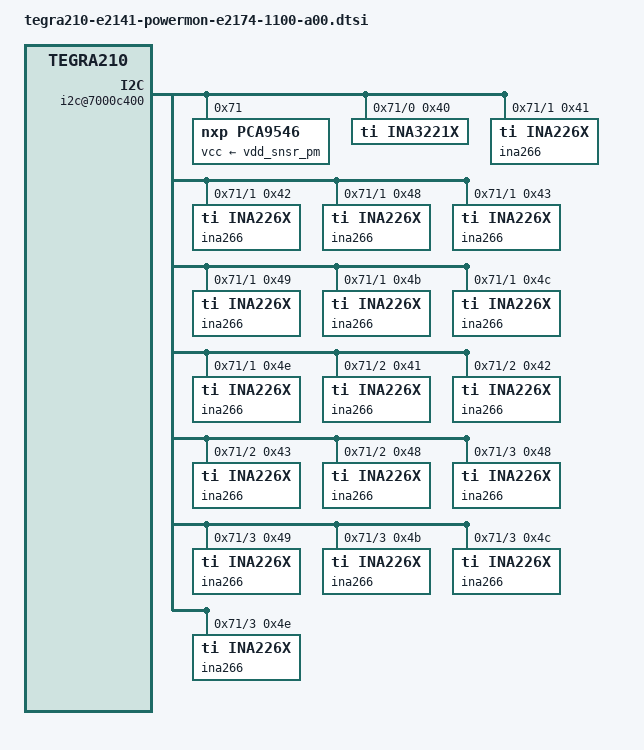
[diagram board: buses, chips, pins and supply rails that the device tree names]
/*
 * Copyright (c) 2014, NVIDIA CORPORATION.  All rights reserved.
 *
 * This program is free software; you can redistribute it and/or modify
 * it under the terms of the GNU General Public License as published by
 * the Free Software Foundation; either version 2 of the License, or
 * (at your option) any later version.
 *
 * This program is distributed in the hope that it will be useful, but WITHOUT
 * ANY WARRANTY; without even the implied warranty of MERCHANTABILITY or
 * FITNESS FOR A PARTICULAR PURPOSE.  See the GNU General Public License for
 * more details.
 *
 * You should have received a copy of the GNU General Public License along
 * with this program; if not, write to the Free Software Foundation, Inc.,
 * 51 Franklin Street, Fifth Floor, Boston, MA  02110-1301, USA.
 */
/ {
	i2c@7000c400 {
		pca9546@71 {
			compatible = "nxp,pca9546";
			reg = <0x71>;
			#address-cells = <1>;
			#size-cells = <0>;
			vcc-supply = <&vdd_snsr_pm>;
			i2c@0 {
				reg = <0>;
				i2c-mux,deselect-on-exit;
				#address-cells = <1>;
				#size-cells = <0>;
				ina3221x@40 {
					compatible = "ti,ina3221x";
					reg = <0x40>;
					ti,trigger-config = <0x7003>;
					ti,continuous-config = <0x7c07>;
					#address-cells = <1>;
					#size-cells = <0>;
					channel@0 {
						reg = <0x0>;
						ti,rail-name = "VDD_BAT";
						ti,shunt-resistor-mohm = <1>;
					};

					channel@1 {
						reg = <0x1>;
						ti,rail-name = "VDD_5V0";
						ti,shunt-resistor-mohm = <1>;
					};

					channel@2 {
						reg = <0x2>;
						ti,rail-name = "VDD_SYS_MDM";
						ti,shunt-resistor-mohm = <1>;
					};
				};
			};
			i2c@1 {
				reg = <1>;
				i2c-mux,deselect-on-exit;
				#address-cells = <1>;
				#size-cells = <0>;

				ina266@41 {
					compatible = "ti,ina226x";
					reg = <0x41>;
					ti,rail-name = "VDD_BAT_CHG";
					ti,continuous-config = <0x0407>;
					ti,trigger-config = <0x0403>;
					ti,resistor = <1>;
					ti,calibration-data = <0x2CB2>;
					ti,power-lsb = <11185>;
					ti,divisor = <25>;
					ti,precision-multiplier = <1000>;
				};
				ina266@42 {
					compatible = "ti,ina226x";
					reg = <0x42>;
					ti,rail-name = "VDD_CPU";
					ti,continuous-config = <0x0407>;
					ti,trigger-config = <0x0403>;
					ti,resistor = <5>;
					ti,calibration-data = <0x13DC>;
					ti,power-lsb = <5035>;
					ti,divisor = <25>;
					ti,precision-multiplier = <1000>;
				};
				ina266@48 {
					compatible = "ti,ina226x";
					reg = <0x48>;
					ti,rail-name = "VDD_SOC";
					ti,continuous-config = <0x0407>;
					ti,trigger-config = <0x0403>;
					ti,resistor = <5>;
					ti,calibration-data = <0x13DC>;
					ti,power-lsb = <5035>;
					ti,divisor = <25>;
					ti,precision-multiplier = <1000>;
				};
				ina266@43 {
					compatible = "ti,ina226x";
					reg = <0x43>;
					ti,rail-name = "VDD_GPU";
					ti,continuous-config = <0x0407>;
					ti,trigger-config = <0x0403>;
					ti,resistor = <5>;
					ti,calibration-data = <0x1D20>;
					ti,power-lsb = <3433>;
					ti,divisor = <25>;
					ti,precision-multiplier = <1000>;
				};
				ina266@49 {
					compatible = "ti,ina226x";
					reg = <0x49>;
					ti,rail-name = "VDD_DDR";
					ti,continuous-config = <0x0407>;
					ti,trigger-config = <0x0403>;
					ti,resistor = <5>;
					ti,calibration-data = <0x51EB>;
					ti,power-lsb = <1220>;
					ti,divisor = <25>;
					ti,precision-multiplier = <1000>;
				};
				ina266@4b {
					compatible = "ti,ina226x";
					reg = <0x4B>;
					ti,rail-name = "VDD_SYS_MDM";
					ti,continuous-config = <0x0407>;
					ti,trigger-config = <0x0403>;
					ti,resistor = <1>;
					ti,calibration-data = <0x7FFF>;
					ti,power-lsb = <1581>;
					ti,divisor = <25>;
					ti,precision-multiplier = <1000>;
				};
				ina266@4c {
					compatible = "ti,ina226x";
					reg = <0x4C>;
					ti,rail-name = "VDD_SYS_BL";
					ti,continuous-config = <0x0407>;
					ti,trigger-config = <0x0403>;
					ti,resistor = <50>;
					ti,calibration-data = <0xFB2>;
					ti,power-lsb = <637>;
					ti,divisor = <25>;
					ti,precision-multiplier = <1000>;

				};
				ina266@4e {
					compatible = "ti,ina226x";
					reg = <0x4E>;
					ti,rail-name = "VDD_SYS_COM";
					ti,continuous-config = <0x0407>;
					ti,trigger-config = <0x0403>;
					ti,resistor = <10>;
					ti,calibration-data = <0x4040>;
					ti,power-lsb = <77>;
					ti,divisor = <25>;
					ti,precision-multiplier = <1000>;

				};
			};
			i2c@2 {
				reg = <2>;
				i2c-mux,deselect-on-exit;
				#address-cells = <1>;
				#size-cells = <0>;
				ina266@41 {
					compatible = "ti,ina226x";
					reg = <0x41>;
					ti,rail-name = "VDD_RTC";
					ti,continuous-config = <0x0407>;
					ti,trigger-config = <0x0403>;
					ti,resistor = <100>;
					ti,calibration-data = <0x7FFF>;
					ti,power-lsb = <381>;
					ti,divisor = <25>;
					ti,precision-multiplier = <1000>;

				};
				ina266@42 {
					compatible = "ti,ina226x";
					reg = <0x42>;
					ti,rail-name = "VDD_1V05_GEN_PLL_EDP";
					ti,continuous-config = <0x0407>;
					ti,trigger-config = <0x0403>;
					ti,resistor = <50>;
					ti,calibration-data = <0x1D20>;
					ti,power-lsb = <343>;
					ti,divisor = <25>;
					ti,precision-multiplier = <1000>;

				};
				ina266@43 {
					compatible = "ti,ina226x";
					reg = <0x43>;
					ti,rail-name = "VDD_DIS_3V3_LCD";
					ti,continuous-config = <0x0407>;
					ti,trigger-config = <0x0403>;
					ti,resistor = <10>;
					ti,calibration-data = <0x7FFF>;
					ti,power-lsb = <213>;
					ti,divisor = <25>;
					ti,precision-multiplier = <1000>;
				};
				ina266@48 {
					compatible = "ti,ina226x";
					reg = <0x48>;
					ti,rail-name = "VDD_LCD_1V8_DIS";
					ti,continuous-config = <0x0407>;
					ti,trigger-config = <0x0403>;
					ti,resistor = <100>;
					ti,calibration-data = <0x7FFF>;
					ti,power-lsb = <38>;
					ti,divisor = <25>;
					ti,precision-multiplier = <1000>;
				};
			};
			i2c@3 {
				reg = <3>;
				i2c-mux,deselect-on-exit;
				#address-cells = <1>;
				#size-cells = <0>;

				ina266@48 {
					compatible = "ti,ina226x";
					reg = <0x48>;
					ti,rail-name = "VDD_GPU";
					ti,continuous-config = <0x0407>;
					ti,trigger-config = <0x0403>;
					ti,calibration-data = <0x7FFF>;
					ti,resistor = <3>;
					ti,power-lsb = <12970>;
					ti,divisor = <25>;
					ti,precision-multiplier = <10000>;
				};
				ina266@49 {
					compatible = "ti,ina226x";
					reg = <0x49>;
					ti,rail-name = "VDD_SOC";
					ti,continuous-config = <0x0407>;
					ti,trigger-config = <0x0403>;
					ti,resistor = <1>;
					ti,calibration-data = <0x7567>;
					ti,power-lsb = <4258>;
					ti,divisor = <25>;
					ti,precision-multiplier = <1000>;

				};
				ina266@4b {
					compatible = "ti,ina226x";
					reg = <0x4b>;
					ti,rail-name = "VDD_CPU";
					ti,continuous-config = <0x0407>;
					ti,trigger-config = <0x0403>;
					ti,calibration-data = <0x7FFF>;
					ti,resistor = <3>;
					ti,power-lsb = <9384>;
					ti,divisor = <25>;
					ti,precision-multiplier = <10000>;
				};
				ina266@4c {
					compatible = "ti,ina226x";
					reg = <0x4c>;
					ti,rail-name = "VDD_1V8_SYS";
					ti,continuous-config = <0x0407>;
					ti,trigger-config = <0x0403>;
					ti,resistor = <5>;
					ti,calibration-data = <0x4189>;
					ti,power-lsb = <1525>;
					ti,divisor = <25>;
					ti,precision-multiplier = <1000>;
				};
				ina266@4e {
					compatible = "ti,ina226x";
					reg = <0x4e>;
					ti,rail-name = "VDD_1V05_GEN_PLL";
					ti,continuous-config = <0x0407>;
					ti,trigger-config = <0x0403>;
					ti,resistor = <30>;
					ti,calibration-data = <0x7FFF>;
					ti,power-lsb = <57>;
					ti,divisor = <25>;
					ti,precision-multiplier = <1000>;
				};
			};
		};
	};
};
